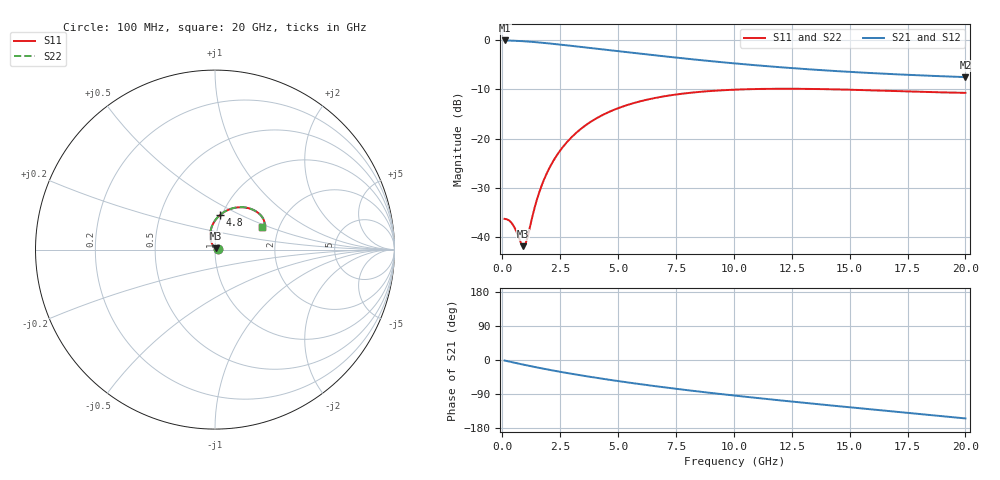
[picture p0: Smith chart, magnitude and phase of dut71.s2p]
! Touchstone file exported from HFSS 2024.1.0
!  File:  C:/UserFiles/LocalFiles/RDL_TSV_Batchsim/temp_RDL_TSV_71_1779411698.aedt
!  Generated:  09:18:28 AM May 22, 2026
!  Design:  RDL_TSV
!  Project:  temp_RDL_TSV_71_1779411698
!  Setup:  Setup1
!  Solution:  Sweep
! Variables:
!  dtsv = 7.92um
!  hbump = 3um
!  htsv = 90.2um
!  ldown = 447um
!  lrdl = 125.27um
!  p = 40
!  p1 = 46.64um
!  rhole = 10um
!  subl = 1842.08um
!  t = 450um
!  tdown = 3.52um
!  trdl = 2.22um
!  viad = 10um
!  wdown = 20.22um
!  wrdl = 10.3um
!  xbump = 18um
# GHz S MA R 50.000000
! Terminal data exported
! Port[1] = TM1_1_T1
! Port[2] = TM1_4_T1
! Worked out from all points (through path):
!   200 points, 100 MHz to 20 GHz, reference 50 ohm
!   highest |S21| = -0.14 dB at 100 MHz (marker M1); lowest = -7.6 dB at 20 GHz (marker M2)
!   group delay of S21, straight-line fit = 20.2 ps
!   lowest |S11| = -41.8 dB at 900 MHz (marker M3), VSWR 1.02, Z = 50.5 + j0.645 ohm
!   |S11| at or under -10 dB: start of sweep to 10.74 GHz; 13.9 GHz to end of sweep
!   |S22| runs from -41.8 to -9.9 dB; largest |S21 - S12| = 1.5e-14
!   S11 on the Smith chart (normalised r, x): 100 MHz: 1.03, +0.00; 4.8 GHz: 0.98, +0.39; 20 GHz: 1.63, +0.45
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0.1  0.01535 2.2  0.9843 -1.4  0.9843 -1.4  0.01535 2.2
! Gamma 0 0 0 0
! Port Impedance 50 0 50 0
0.4  0.01399 7.6  0.9803 -5.5  0.9803 -5.5  0.01399 7.6
0.6  0.01155 14.8  0.9759 -8.2  0.9759 -8.2  0.01154 14.9
0.8  0.008809 34.2  0.9704 -10.8  0.9704 -10.8  0.008804 34.3
0.9  0.008119 51.8  0.9672 -12.1  0.9672 -12.1  0.008116 51.9
1  0.008535 72.3  0.9638 -13.4  0.9638 -13.4  0.008536 72.4
1.1  0.01021 89.6  0.9601 -14.7  0.9601 -14.7  0.01022 89.7
1.4  0.02007 112.8  0.9478 -18.4  0.9478 -18.4  0.02009 112.9
1.6  0.0287 116.5  0.9387 -20.9  0.9387 -20.9  0.02873 116.5
2  0.04845 115.9  0.9193 -25.6  0.9193 -25.6  0.0485 116.0
2.3  0.06454 113.0  0.904 -29.0  0.904 -29.0  0.06461 113.0
2.7  0.08675 108.1  0.8831 -33.3  0.8831 -33.3  0.08685 108.1
3.5  0.1309 97.5  0.8414 -41.5  0.8414 -41.5  0.131 97.5
4.1  0.1618 90.0  0.811 -47.3  0.811 -47.3  0.162 90.0
4.8  0.1942 81.9  0.7767 -53.8  0.7767 -53.8  0.1945 81.9
5.7  0.2294 72.7  0.7349 -61.6  0.7349 -61.6  0.2297 72.7
6.8  0.2628 63.1  0.6878 -70.6  0.6878 -70.6  0.2632 63.1
8.4  0.2949 51.8  0.6276 -82.6  0.6276 -82.6  0.2954 51.8
10.1  0.3128 42.6  0.5746 -94.3  0.5746 -94.3  0.3133 42.7
13.4  0.3176 31.0  0.4992 -115.2  0.4992 -115.2  0.3183 31.0
16.7  0.3038 25.7  0.4506 -134.8  0.4506 -134.8  0.3045 25.7
20  0.2901 25.8  0.4186 -154.2  0.4186 -154.2  0.2908 25.8
